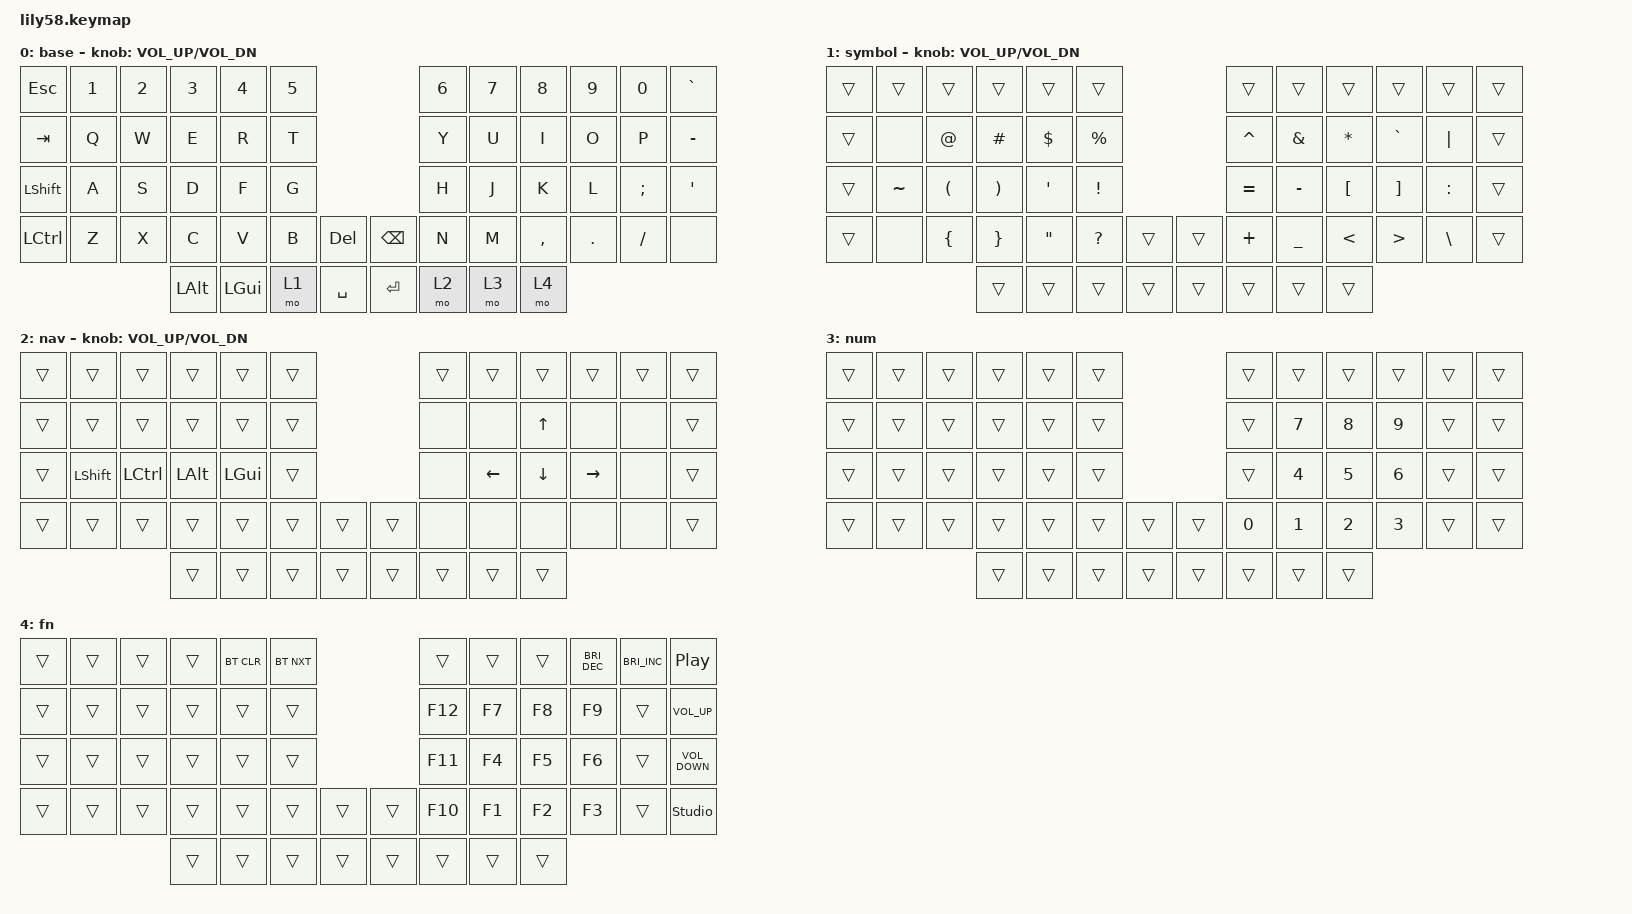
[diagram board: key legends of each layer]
/*
 * Copyright (c) 2020 The ZMK Contributors
 *
 * SPDX-License-Identifier: MIT
 */

#include <behaviors.dtsi>
#include <dt-bindings/zmk/bt.h>
#include <dt-bindings/zmk/keys.h>

/ {
    keymap {
        compatible = "zmk,keymap";

        base {
            // ------------------------------------------------------------------------------------------------------------
            // |  ESC  |  1  |  2  |  3   |  4   |  5   |                   |  6   |  7    |  8    |  9   |   0   |   `   |
            // |  TAB  |  Q  |  W  |  E   |  R   |  T   |                   |  Y   |  U    |  I    |  O   |   P   |   -   |
            // |  CTRL |  A  |  S  |  D   |  F   |  G   |                   |  H   |  J    |  K    |  L   |   ;   |   '   |
            // | SHIFT |  Z  |  X  |  C   |  V   |  B   |   "["  |  |  "]"  |  N   |  M    |  ,    |  .   |   /   | SHIFT |
            //                     | ALT  | GUI  | LOWER|  SPACE |  | ENTER | RAISE| BSPC  | GUI   |

            bindings = <
&kp ESC         &kp N1  &kp N2  &kp N3    &kp N4    &kp N5                               &kp N6  &kp N7  &kp N8     &kp N9   &kp N0    &kp GRAVE
&kp TAB         &kp Q   &kp W   &kp E     &kp R     &kp T                                &kp Y   &kp U   &kp I      &kp O    &kp P     &kp MINUS
&kp LEFT_SHIFT  &kp A   &kp S   &kp D     &kp F     &kp G                                &kp H   &kp J   &kp K      &kp L    &kp SEMI  &kp SINGLE_QUOTE
&kp LCTRL       &kp Z   &kp X   &kp C     &kp V     &kp B   &kp DELETE    &kp BACKSPACE  &kp N   &kp M   &kp COMMA  &kp DOT  &kp FSLH  &none
                                &kp LALT  &kp LGUI  &mo 1   &kp SPACE     &kp RET        &mo 2   &mo 3   &mo 4
            >;

            sensor-bindings = <&inc_dec_kp C_VOL_UP C_VOL_DN>;
        };

        symbol {
            // --------------------------------------------------------------------------------------------------------------
            // | LPAD  | BRDn | BRUp |  MUT |  Vo- |  Vo+ |                   |      |       |       |      |       |       |
            // |  F1   |  F2  |  F3  |  F4  |  F5  |  F6  |                   |  F7  |  F8   |  F9   |  F10 |  F11  |  F12  |
            // |   `   |  !   |  @   |  #   |  $   |  %   |                   |  ^   |  &    |  *    |  (   |   )   |   ~   |
            // |       |      |      |      |      |      |        |  |       |      |  _    |  +    |  {   |   }   |  "|"  |
            //                       |      |      |      |        |  |       |      |       |       |

            bindings = <
&trans  &trans     &trans                &trans                 &trans             &trans                             &trans     &trans          &trans            &trans             &trans         &trans
&trans  &none      &kp AT                &kp HASH               &kp DOLLAR         &kp PERCENT                        &kp CARET  &kp AMPERSAND   &kp ASTERISK      &kp GRAVE          &kp PIPE       &trans
&trans  &kp TILDE  &kp LEFT_PARENTHESIS  &kp RIGHT_PARENTHESIS  &kp SINGLE_QUOTE   &kp EXCLAMATION                    &kp EQUAL  &kp MINUS       &kp LEFT_BRACKET  &kp RIGHT_BRACKET  &kp COLON      &trans
&trans  &none      &kp LEFT_BRACE        &kp RIGHT_BRACE        &kp DOUBLE_QUOTES  &kp QUESTION     &trans    &trans  &kp PLUS   &kp UNDERSCORE  &kp LESS_THAN     &kp GREATER_THAN   &kp BACKSLASH  &trans
                                         &trans                 &trans             &trans           &trans    &trans  &trans     &trans          &trans
            >;

            sensor-bindings = <&inc_dec_kp C_VOL_UP C_VOL_DN>;
        };

        nav {
            // ------------------------------------------------------------------------------------------------------------
            // |       |     |     |      |      |      |                   |      |       |       |      |       |       |
            // |   `   |  1  |  2  |  3   |  4   |  5   |                   |  6   |   7   |   8   |  9   |   0   |       |
            // |   F1  |  F2 |  F3 |  F4  |  F5  |  F6  |                   |      |   <-  |   v   |  ^   |  ->   |       |
            // |   F7  |  F8 |  F9 |  F10 |  F11 |  F12 |        |  |       |  +   |   -   |   =   |  [   |   ]   |   \   |
            //                     |      |      |      |        |  |       |      |       |       |

            bindings = <
&trans  &trans          &trans            &trans        &trans        &trans                    &trans  &trans    &trans    &trans     &trans  &trans
&trans  &trans          &trans            &trans        &trans        &trans                    &none   &none     &kp UP    &none      &none   &trans
&trans  &kp LEFT_SHIFT  &kp LEFT_CONTROL  &kp LEFT_ALT  &kp LEFT_GUI  &trans                    &none   &kp LEFT  &kp DOWN  &kp RIGHT  &none   &trans
&trans  &trans          &trans            &trans        &trans        &trans  &trans    &trans  &none   &none     &none     &none      &none   &trans
                                          &trans        &trans        &trans  &trans    &trans  &trans  &trans    &trans
            >;

            sensor-bindings = <&inc_dec_kp C_VOL_UP C_VOL_DN>;
        };

        num {
            bindings = <
&trans  &trans  &trans  &trans  &trans  &trans                    &trans        &trans        &trans        &trans        &trans  &trans
&trans  &trans  &trans  &trans  &trans  &trans                    &trans        &kp NUMBER_7  &kp NUMBER_8  &kp NUMBER_9  &trans  &trans
&trans  &trans  &trans  &trans  &trans  &trans                    &trans        &kp NUMBER_4  &kp NUMBER_5  &kp NUMBER_6  &trans  &trans
&trans  &trans  &trans  &trans  &trans  &trans  &trans    &trans  &kp NUMBER_0  &kp NUMBER_1  &kp NUMBER_2  &kp NUMBER_3  &trans  &trans
                        &trans  &trans  &trans  &trans    &trans  &trans        &trans        &trans
            >;
        };

        fn {
            bindings = <
&trans  &trans  &trans  &trans  &bt BT_CLR  &bt BT_NXT                    &trans   &trans  &trans  &kp C_BRIGHTNESS_DEC  &kp C_BRIGHTNESS_INC  &kp C_PLAY_PAUSE
&trans  &trans  &trans  &trans  &trans      &trans                        &kp F12  &kp F7  &kp F8  &kp F9                &trans                &kp C_VOLUME_UP
&trans  &trans  &trans  &trans  &trans      &trans                        &kp F11  &kp F4  &kp F5  &kp F6                &trans                &kp C_VOLUME_DOWN
&trans  &trans  &trans  &trans  &trans      &trans      &trans    &trans  &kp F10  &kp F1  &kp F2  &kp F3                &trans                &studio_unlock
                        &trans  &trans      &trans      &trans    &trans  &trans   &trans  &trans
            >;
        };
    };

    conditional_layers { compatible = "zmk,conditional-layers"; };
};
